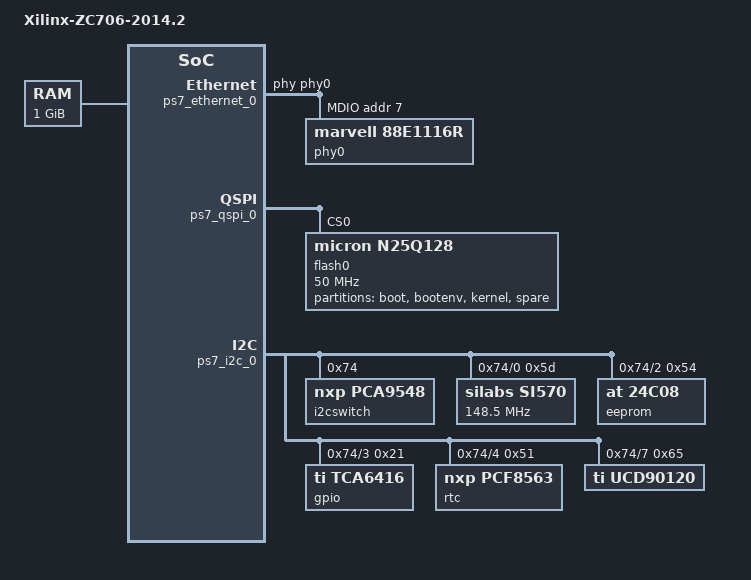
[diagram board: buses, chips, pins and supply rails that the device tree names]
/dts-v1/;
/include/ "ps.dtsi"

/ {
	model = "Xilinx-ZC706-2014.2";
	aliases {
		serial0 = &ps7_uart_1;
		ethernet0 = &ps7_ethernet_0;
	};
	chosen {
		bootargs = "console=ttyPS0,115200 root=/dev/nfs rw nfsroot=172.23.244.35:/scratch/rootfs/xlnx-zynq ip=172.23.252.100::172.23.240.254:255.255.240.0:zynq-iu42::none";
	};
	memory {
		device_type = "memory";
		reg = <0x0 0x40000000>;
	};
};

&ps7_ethernet_0 {
	local-mac-address = [00 0a 35 00 a8 a6];
};

&ps7_qspi_0 {
	#address-cells = <1>;
	#size-cells = <0>;
	flash0: flash@0 {
		compatible = "micron,n25q128";
		reg = <0x0>;
		#address-cells = <1>;
		#size-cells = <1>;
		spi-max-frequency = <50000000>;
		partition@0x00000000 {
			label = "boot";
			reg = <0x00000000 0x00e00000>;
		};
		partition@0x00e00000 {
			label = "bootenv";
			reg = <0x00e00000 0x00020000>;
		};
		partition@0x00e20000 {
			label = "kernel";
			reg = <0x00e20000 0x00a80000>;
		};
		partition@0x018a0000 {
			label = "spare";
			reg = <0x018a0000 0x00000000>;
		};
	};
};

/ {
};

&ps7_ethernet_0 {
	phy-handle = <&phy0>;
	mdio {
		#address-cells = <1>;
		#size-cells = <0>;
		phy0: phy@7 {
			compatible = "marvell,88e1116r";
			device_type = "ethernet-phy";
			reg = <7>;
		} ;
	} ;
};

&ps7_i2c_0 {
	#address-cells = <1>;
	#size-cells = <0>;
	i2cswitch@74 {
		compatible = "nxp,pca9548";
		#address-cells = <1>;
		#size-cells = <0>;
		reg = <0x74>;

		i2c@0 {
			#address-cells = <1>;
			#size-cells = <0>;
			reg = <0>;
			si570: clock-generator@5d {
				#clock-cells = <0>;
				compatible = "silabs,si570";
				temperature-stability = <50>;
				reg = <0x5d>;
				factory-fout = <156250000>;
				clock-frequency = <148500000>;
			};
		};

		i2c@2 {
			#address-cells = <1>;
			#size-cells = <0>;
			reg = <2>;
			eeprom@54 {
				compatible = "at,24c08";
				reg = <0x54>;
			};
		};

		i2c@3 {
			#address-cells = <1>;
			#size-cells = <0>;
			reg = <3>;
			gpio@21 {
				compatible = "ti,tca6416";
				reg = <0x21>;
				gpio-controller;
				#gpio-cells = <2>;
			};
		};

		i2c@4 {
			#address-cells = <1>;
			#size-cells = <0>;
			reg = <4>;
			rtc@51 {
				compatible = "nxp,pcf8563";
				reg = <0x51>;
			};
		};


		i2c@7 {
			#address-cells = <1>;
			#size-cells = <0>;
			reg = <7>;
			ucd90120@65 {
				compatible = "ti,ucd90120";
				reg = <0x65>;
			};
		};
	};
};

&flash0 {
	compatible = "micron,n25q128";
};
